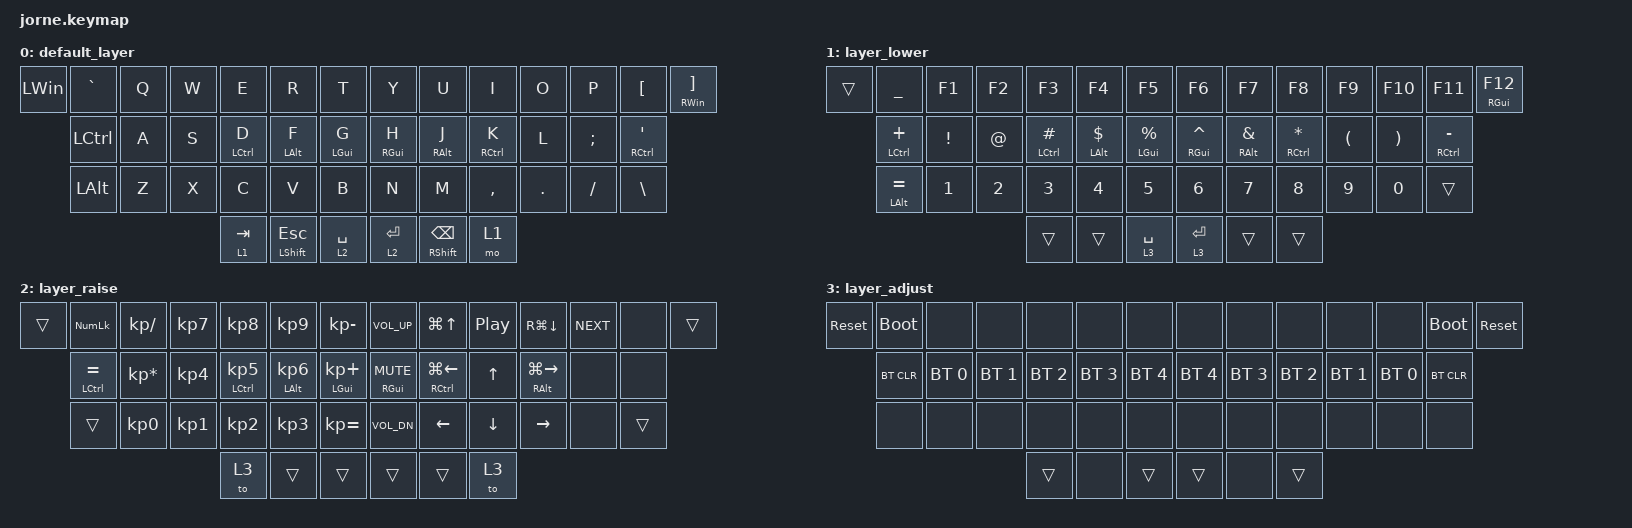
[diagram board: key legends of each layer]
/*
 * Copyright (c) 2020 The ZMK Contributors
 *
 * SPDX-License-Identifier: MIT
 */

#include <behaviors.dtsi>
#include <dt-bindings/zmk/bt.h>
#include <dt-bindings/zmk/keys.h>

/ {
    behaviours {
        rpi: require_prior_idle {
            compatible = "zmk,behavior-hold-tap";
            label = "REQUIRE_PRIOR_IDLE";
            #binding-cells = <2>;
            flavor = "tap-preferred";
            tapping-term-ms = <200>;
            quick-tap-ms = <200>;
            require-prior-idle-ms = <125>;
            bindings = <&kp>, <&kp>;
        };
        mtr: mod_tap_repeat {
            compatible = "zmk,behavior-hold-tap";
            label = "MOD_TAP";
            #binding-cells = <2>;
            flavor = "hold-preferred";
            tapping-term-ms = <200>;
            quick-tap-ms = <200>;
            bindings = <&kp>, <&kp>;
        };
    };

    behaviors {
    };

    keymap {
        compatible = "zmk,keymap";

        default_layer {
            bindings = <
&kp LWIN  &kp GRAVE  &kp Q  &kp W  &kp E         &kp R             &kp T          &kp Y        &kp U            &kp I         &kp O    &kp P     &kp LBKT       &mt RWIN RBKT
          &kp LCTRL  &kp A  &kp S  &rpi LCTRL D  &rpi LALT F       &rpi LGUI G    &rpi RGUI H  &rpi RALT J      &rpi RCTRL K  &kp L    &kp SEMI  &mt RCTRL SQT
          &kp LALT   &kp Z  &kp X  &kp C         &kp V             &kp B          &kp N        &kp M            &kp COMMA     &kp DOT  &kp FSLH  &kp BSLH
                                   &lt 1 TAB     &mt LSHFT ESCAPE  &lt 2 SPACE    &lt 2 ENTER  &mtr RSHFT BSPC  &mo 1
            >;
        };

        layer_lower {
            bindings = <
&trans  &kp UNDER       &kp F1    &kp F2  &kp F3           &kp F4            &kp F5             &kp F6           &kp F7               &kp F8           &kp F9    &kp F10   &kp F11          &mt RGUI F12
        &mt LCTRL PLUS  &kp EXCL  &kp AT  &rpi LCTRL HASH  &rpi LALT DOLLAR  &rpi LGUI PRCNT    &rpi RGUI CARET  &rpi RALT AMPERSAND  &rpi RCTRL STAR  &kp LPAR  &kp RPAR  &mt RCTRL MINUS
        &mt LALT EQUAL  &kp N1    &kp N2  &kp N3           &kp N4            &kp N5             &kp N6           &kp N7               &kp N8           &kp N9    &kp N0    &trans
                                          &trans           &trans            &lt 3 SPACE        &lt 3 ENTER      &trans               &trans
            >;
        };

        layer_raise {
            bindings = <
&trans  &kp KP_NUM       &kp KP_SLASH     &kp KP_N7  &kp KP_N8         &kp KP_N9        &kp KP_MINUS         &kp C_VOL_UP      &kp LG(UP)           &kp C_PLAY_PAUSE  &kp RG(DOWN)              &kp C_NEXT  &none   &trans
        &mt LCTRL EQUAL  &kp KP_MULTIPLY  &kp KP_N4  &rpi LCTRL KP_N5  &rpi LALT KP_N6  &rpi LGUI KP_PLUS    &rpi RGUI C_MUTE  &rpi RCTRL LG(LEFT)  &kp UP            &rpi RIGHT_ALT LG(RIGHT)  &none       &none
        &trans           &kp KP_N0        &kp KP_N1  &kp KP_N2         &kp KP_N3        &kp KP_EQUAL         &kp C_VOL_DN      &kp LEFT             &kp DOWN          &kp RIGHT                 &none       &trans
                                                     &to 3             &trans           &trans               &trans            &trans               &to 3
            >;
        };

        layer_adjust {
            bindings = <
&sys_reset  &bootloader  &none         &none         &none         &none         &none           &none         &none         &none         &none         &none         &bootloader  &sys_reset
            &bt BT_CLR   &bt BT_SEL 0  &bt BT_SEL 1  &bt BT_SEL 2  &bt BT_SEL 3  &bt BT_SEL 4    &bt BT_SEL 4  &bt BT_SEL 3  &bt BT_SEL 2  &bt BT_SEL 1  &bt BT_SEL 0  &bt BT_CLR
            &none        &none         &none         &none         &none         &none           &none         &none         &none         &none         &none         &none
                                                     &trans        &none         &trans          &trans        &none         &trans
            >;
        };

        extra1 {
            status = "reserved";
        };

        extra2 {
            status = "reserved";
        };
    };
};
